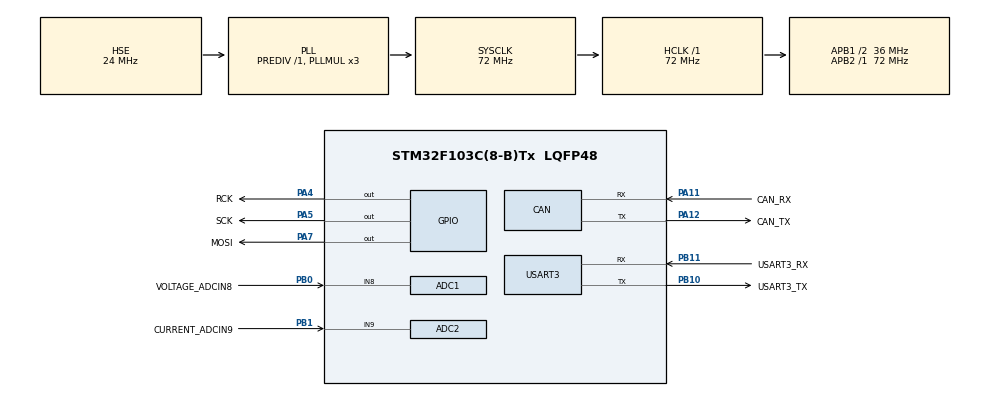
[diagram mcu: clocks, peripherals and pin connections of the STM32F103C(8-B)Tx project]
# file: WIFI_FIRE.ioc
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ADC1.Channel-0\#ChannelRegularConversion=ADC_CHANNEL_8
ADC1.ContinuousConvMode=DISABLE
ADC1.DataAlign=ADC_DATAALIGN_RIGHT
ADC1.DiscontinuousConvMode=DISABLE
ADC1.EnableAnalogWatchDog=false
ADC1.EnableRegularConversion=ENABLE
ADC1.ExternalTrigConv=ADC_SOFTWARE_START
ADC1.InjNumberOfConversion=0
ADC1.NbrOfConversion=1
ADC1.NbrOfConversionFlag=1
ADC1.Rank-0\#ChannelRegularConversion=1
ADC1.SamplingTime-0\#ChannelRegularConversion=ADC_SAMPLETIME_1CYCLE_5
ADC1.ScanConvMode=ADC_SCAN_DISABLE
ADC1.master=1
ADC2.Channel-0\#ChannelRegularConversion=ADC_CHANNEL_9
ADC2.ContinuousConvMode=DISABLE
ADC2.DataAlign=ADC_DATAALIGN_RIGHT
ADC2.DiscontinuousConvMode=DISABLE
ADC2.EnableAnalogWatchDog=false
ADC2.EnableRegularConversion=ENABLE
ADC2.ExternalTrigConv=ADC_SOFTWARE_START
ADC2.InjNumberOfConversion=0
ADC2.NbrOfConversion=1
ADC2.NbrOfConversionFlag=1
ADC2.Rank-0\#ChannelRegularConversion=1
ADC2.SamplingTime-0\#ChannelRegularConversion=ADC_SAMPLETIME_1CYCLE_5
ADC2.ScanConvMode=ADC_SCAN_DISABLE
CAN.CalculateTimeBit=1333
CAN.CalculateTimeQuantum=444.44444444444446
Dma.ADC1.0.Direction=DMA_PERIPH_TO_MEMORY
Dma.ADC1.0.Instance=DMA1_Channel1
Dma.ADC1.0.MemDataAlignment=DMA_MDATAALIGN_WORD
Dma.ADC1.0.MemInc=DMA_MINC_ENABLE
Dma.ADC1.0.Mode=DMA_CIRCULAR
Dma.ADC1.0.PeriphDataAlignment=DMA_PDATAALIGN_WORD
Dma.ADC1.0.PeriphInc=DMA_PINC_DISABLE
Dma.ADC1.0.Priority=DMA_PRIORITY_LOW
Dma.Request0=ADC1
Mcu.Family=STM32F1
Mcu.Name=STM32F103C(8-B)Tx
Mcu.Package=LQFP48
NVIC.DMA1_Channel1_IRQn=true\:0\:0\:false\:false\:true\:false
NVIC.PriorityGroup=NVIC_PRIORITYGROUP_4
NVIC.USART3_IRQn=true\:2\:0\:true\:false\:true\:true
PA11.GPIO_Label=CAN_RX
PA11.Mode=Master
PA11.Signal=CAN_RX
PA12.GPIO_Label=CAN_TX
PA12.Mode=Master
PA12.Signal=CAN_TX
PA13.Mode=Serial_Wire
PA13.Signal=SYS_JTMS-SWDIO
PA14.Mode=Serial_Wire
PA14.Signal=SYS_JTCK-SWCLK
PA4.GPIO_Label=RCK
PA4.GPIO_Speed=GPIO_SPEED_FREQ_MEDIUM
PA4.Signal=GPIO_Output
PA5.GPIO_Label=SCK
PA5.Signal=GPIO_Output
PA7.GPIO_Label=MOSI
PA7.Signal=GPIO_Output
PB0.GPIO_Label=VOLTAGE_ADCIN8
PB0.Signal=ADCx_IN8
PB1.GPIO_Label=CURRENT_ADCIN9
PB1.Signal=ADCx_IN9
PB10.GPIO_Label=USART3_TX
PB10.Mode=Asynchronous
PB10.Signal=USART3_TX
PB11.GPIO_Label=USART3_RX
PB11.Mode=Asynchronous
PB11.Signal=USART3_RX
PD0-OSC_IN.Mode=HSE-External-Clock-Source
PD0-OSC_IN.Signal=RCC_OSC_IN
PD1-OSC_OUT.Mode=HSE-External-Clock-Source
PD1-OSC_OUT.Signal=RCC_OSC_OUT
ProjectManager.HeapSize=0x200
ProjectManager.StackSize=0x400
ProjectManager.TargetToolchain=MDK-ARM V5
RCC.ADCPresc=RCC_ADCPCLK2_DIV6
RCC.AHBFreq_Value=72000000
RCC.APB1CLKDivider=RCC_HCLK_DIV2
RCC.APB1Freq_Value=36000000
RCC.APB1TimFreq_Value=72000000
RCC.APB2Freq_Value=72000000
RCC.APB2TimFreq_Value=72000000
RCC.HCLKFreq_Value=72000000
RCC.HSE_VALUE=24000000
RCC.PLLMUL=RCC_PLL_MUL3
RCC.PLLSourceVirtual=RCC_PLLSOURCE_HSE
RCC.SYSCLKFreq_VALUE=72000000
RCC.SYSCLKSource=RCC_SYSCLKSOURCE_PLLCLK
RCC.USBFreq_Value=72000000
SH.ADCx_IN8.0=ADC1_IN8,IN8
SH.ADCx_IN9.0=ADC1_IN9
SH.ADCx_IN9.1=ADC2_IN9,IN9
USART3.VirtualMode=VM_ASYNC
board=WIFI_FIRE

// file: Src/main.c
/**
  ******************************************************************************
  * File Name          : main.c
  * Description        : Main program body
  ******************************************************************************
  ** This notice applies to any and all portions of this file
  * that are not between comment pairs USER CODE BEGIN and
  * USER CODE END. Other portions of this file, whether
  * inserted by the user or by software development tools
  * are owned by their respective copyright owners.
  *
  * COPYRIGHT(c) 2019 STMicroelectronics
  *
  * Redistribution and use in source and binary forms, with or without modification,
  * are permitted provided that the following conditions are met:
  *   1. Redistributions of source code must retain the above copyright notice,
  *      this list of conditions and the following disclaimer.
  *   2. Redistributions in binary form must reproduce the above copyright notice,
  *      this list of conditions and the following disclaimer in the documentation
  *      and/or other materials provided with the distribution.
  *   3. Neither the name of STMicroelectronics nor the names of its contributors
  *      may be used to endorse or promote products derived from this software
  *      without specific prior written permission.
  *
  * THIS SOFTWARE IS PROVIDED BY THE COPYRIGHT HOLDERS AND CONTRIBUTORS "AS IS"
  * AND ANY EXPRESS OR IMPLIED WARRANTIES, INCLUDING, BUT NOT LIMITED TO, THE
  * IMPLIED WARRANTIES OF MERCHANTABILITY AND FITNESS FOR A PARTICULAR PURPOSE ARE
  * DISCLAIMED. IN NO EVENT SHALL THE COPYRIGHT HOLDER OR CONTRIBUTORS BE LIABLE
  * FOR ANY DIRECT, INDIRECT, INCIDENTAL, SPECIAL, EXEMPLARY, OR CONSEQUENTIAL
  * DAMAGES (INCLUDING, BUT NOT LIMITED TO, PROCUREMENT OF SUBSTITUTE GOODS OR
  * SERVICES; LOSS OF USE, DATA, OR PROFITS; OR BUSINESS INTERRUPTION) HOWEVER
  * CAUSED AND ON ANY THEORY OF LIABILITY, WHETHER IN CONTRACT, STRICT LIABILITY,
  * OR TORT (INCLUDING NEGLIGENCE OR OTHERWISE) ARISING IN ANY WAY OUT OF THE USE
  * OF THIS SOFTWARE, EVEN IF ADVISED OF THE POSSIBILITY OF SUCH DAMAGE.
  *
  ******************************************************************************
  */

#include "main.h"
#include "stm32f1xx_hal.h"
#include "adc.h"
#include "can.h"
#include "dma.h"
#include "usart.h"
#include "gpio.h"

/* USER CODE BEGIN Includes */
#include "config.h"
#include "74hc595.h"
#include "math.h"
#include "rtthread.h"
/* USER CODE END Includes */

/* USER CODE BEGIN PV */
/* Private variables ---------------------------------------------------------*/

#define MAX_CUR 180		//最大电流值
#define MAX_VOL 70		//最大电压值
u8 ERROR_FLG=0;	 		//超最大值报警

u8 Num[8]="        ";			//荧光管显示的字符变量
u8 Init_dis[8]="r  hono";
float CurFlo=0.0;
float CurErr2=0.0;				//电流误差
//float Vol=0.0;
//线程控制块
static struct rt_thread led0_thread;//
static struct rt_thread led1_thread;//
static struct rt_thread CAN_Send_thread;//
ALIGN(RT_ALIGN_SIZE)

//线程堆栈
static rt_uint8_t rt_led0_thread_stack[1024];//???
static rt_uint8_t rt_led1_thread_stack[1024];//???
static rt_uint8_t rt_CAN_Send_thread_stack[1024];//???

//定时器控制块
static struct rt_timer timer1;
static struct rt_timer timer2;

/* USER CODE END PV */

void SystemClock_Config(void);

/* USER CODE BEGIN PFP */
/* Private function prototypes -----------------------------------------------*/

//uint32_t ADC_Value[100];
//uint8_t i;
//uint32_t ad1,ad2;

/* USER CODE END PFP */

/* USER CODE BEGIN 0 */

//重映射串口1到rt_kprintf
//void rt_hw_console_output(const char *str)
//{
//    // /* empty console output */

//    rt_enter_critical();

//    while(*str!='\0')
//    {
//        if(*str=='\n')
//        {
//            USART3->DR = (u8)'\r';
//            while((USART3->SR&0X40)==0);
//        }
//        USART3->DR =*str++;
//        while((USART3->SR&0X40)==0);
//    }

//    rt_exit_critical();
//}

static void timeout1(void* parameter)
{
//rt_kprintf("periodic timer is timeout\n");
	CurErr2=CurFlo;
	printf("periodic timer is timeout\n");
}
u8 Time_flag=0;
static void timeout2(void* parameter)
{
//rt_kprintf("periodic timer is timeout\n");
//	CurErr2=CurFlo;
//	printf("periodic timer is timeout\n");
	Time_flag=1;
}

//?? LED0
static void led0_thread_entry(void* parameter)
{
	int current=0,voltage=0;
	float temp_float=0.0;
	float VolErr=1.4;			    //电压误差补偿
	float CurErr=0.0;
	float CurTmpFlo=0.0;
	float VolFlo=0.0;
	kalman1_state kalman;
	u16 cur_temp[5]={0};
	u16 vol_temp[5]={0};
	u8 cur_length,vol_length;
	u8 count=0;						//采样计数
	kalman1_init(&kalman,0.8,0.8);	//用于电流数据卡尔曼滤波
	Num[four_pos]='a';
    Num[seven_pos]='u';

	/* 初始化定时器 */
    rt_timer_init(&timer1, "timer1", /* 定时器名字是 timer1 */
				  timeout1, /* 超时时回调的处理函数 */
				  RT_NULL, /* 超时函数的入口参数 */
				  10000, /* 定时长度，以OS Tick为单位，即500个OS Tick */
				  RT_TIMER_FLAG_ONE_SHOT); /* 周期性定时器 */

	count=10;
	while(count--)					    //校准程序
	{
		current+=Get_Adc2(ADC_CHANNEL_9);
		rt_thread_delay(20); 			//延时50毫秒
	}
	CurFlo=(current*0.0732)*0.1-190;
	CurErr=CurFlo;
	current=0;
	CurErr = -0.3;
		/* 启动定时器 */
	rt_timer_start(&timer1);
	while(1)
	{

	   voltage+=Get_Adc1(ADC_CHANNEL_8);
	   current+=Get_Adc2(ADC_CHANNEL_9);
	   count++;
	   if(count>9)									//采样10次
	   {
		   count=0;
		   CurTmpFlo=(current*0.0732)*0.1-190-CurErr;			//量程换算
		   if(CurTmpFlo<0.0)
		   {
			   CurTmpFlo=-CurTmpFlo;
		   }
//		   CurFlo=kalman1_filter(&kalman,CurTmpFlo)*1.163-CurErr2; // 钳表61  显示64
//         CurFlo=kalman1_filter(&kalman,CurTmpFlo)*1.0232-CurErr2;
//		   CurFlo=kalman1_filter(&kalman,CurTmpFlo)*1.1085-CurErr2;//根据上次校准值得出

//           CurFlo=kalman1_filter(&kalman,CurTmpFlo)*1.1346-CurErr2;//根据上次校准值得出	1.1346
		   CurFlo=kalman1_filter(&kalman,CurTmpFlo)*1.1246-CurErr2;//根据上次校准值得出	1.1346
		   if(CurFlo<0.0)
		   {
			   CurFlo=-CurFlo;
		   }
		   current=CurFlo;
		   VolFlo=(voltage*80/4095)*0.1+VolErr;
//		   VolFlo=(voltage*77.98/4095)*0.1;
		   if(VolFlo<VolErr+0.1)				//测量电压
		   {
//			   VolFlo=VolFlo-VolErr;
			   VolFlo=(voltage*80/4095)*0.1;
			   if(VolFlo<0) VolFlo=-VolFlo;
		   }
		   voltage=VolFlo;
		   if(current>MAX_CUR || voltage>MAX_VOL)     //设置报警
		   {
			   ERROR_FLG=1;
			   break;
		   }
		   ResolveNumBit(current,cur_temp,&cur_length);	 //取每一位
		   switch(cur_length)
		   {
			   case 0x01:
				   current=CurFlo*100;
			       ResolveNumBit(current,cur_temp,&cur_length);	 //取每一位
				   Num[one_pos]=cur_temp[2]+'.';
				   Num[two_pos]=cur_temp[1];
				   Num[three_pos]=cur_temp[0];
				   break;
			   case 0x02:
				   current=CurFlo*10;
			       ResolveNumBit(current,cur_temp,&cur_length);	 //取每一位
				   Num[one_pos]=cur_temp[2];
				   Num[two_pos]=cur_temp[1]+'.';
				   Num[three_pos]=cur_temp[0];
				   break;
			   case 0x03:
				   Num[one_pos]=cur_temp[2];
				   Num[two_pos]=cur_temp[1];
				   Num[three_pos]=cur_temp[0];
				   break;
			   default:
				   Num[one_pos]='-';
				   Num[two_pos]='-';
				   Num[three_pos]='-';
				   break;
		   }
		   cur_temp[2]=0;
		   cur_temp[1]=0;
		   cur_temp[0]=0;
		   ResolveNumBit(voltage,vol_temp,&vol_length);	//取每一位
		   switch(vol_length)
		   {
			   case 1:
				   voltage=VolFlo*100;
			       ResolveNumBit(voltage,vol_temp,&vol_length);	//取每一位
				   Num[five_pos]=vol_temp[2]+'.';
			       Num[six_pos]=vol_temp[1];
			       Num[seven_pos]=vol_temp[0];
				   break;
			   case 2:
				   voltage=VolFlo*10;
			       ResolveNumBit(voltage,vol_temp,&vol_length);	//取每一位
				   Num[five_pos]=vol_temp[2];
			       Num[six_pos]=vol_temp[1]+'.';
			       Num[seven_pos]=vol_temp[0];
				   break;
			   default:
				   Num[five_pos]='-';
				   Num[six_pos]='-';
				   Num[seven_pos]='u';
				   break;
		   }
		   vol_temp[2]=0;
		   vol_temp[1]=0;
		   printf("cur:\t %.3f \t A \t vol: %.3f V  Err: %.3f\r\n",CurFlo,VolFlo,CurErr);
		   current=0;		//采样清零
		   voltage=0;
	   }
	   rt_thread_delay(25); //延时50毫秒
	}
}

//线程 LED1
static void led1_thread_entry(void* parameter)
{
	Init_dis[six_pos]=1+'.';
	Init_dis[seven_pos]=0;
	/* 初始化定时器 */
    rt_timer_init(&timer2, "timer2", /* 定时器名字是 timer2 */
				  timeout2, /* 超时时回调的处理函数 */
				  RT_NULL, /* 超时函数的入口参数 */
				  10000, /* 定时长度，以OS Tick为单位，即500个OS Tick */
				  RT_TIMER_FLAG_ONE_SHOT); /* 周期性定时器 */

	rt_timer_start(&timer2);
//	rt_thread_delay(RT_TICK_PER_SECOND/2); //??
	while(1)
	{
		if(Time_flag==1)    //定时时间到
		{
			DispNum(Num);	//数码管显示
		}
		else				//开机显示
		{
			DispNum(Init_dis);
		}
//		rt_thread_delay(1); //??
	}
}

static void CAN_Send_thread_entry(void* parameter)
{

//	rt_thread_delay(RT_TICK_PER_SECOND/2); //??
	u8 num[8]={0,1,2,3,4,5,6,7};
	u8 res=0;
	u8 recive_buff[8]={0};
	while(1)
	{
		res=CAN1_Receive_Msg(recive_buff);
		if(res)
		{
			printf("the length is:%d\r\n",res);
//			for(i=0;i<8;i++)
//			{
//				printf("recive_buff[i]:%d\r\n",recive_buff[i]);
//			}

		}
		SendData();
//		CAN1_Send_Msg(num,8);
		rt_thread_delay(500); //??
	}
}

/* USER CODE END 0 */

int main(void)
{

  /* USER CODE BEGIN 1 */
//  u16 counter=0;
//  u16 tmp;
//  u8 i=0;
  /* USER CODE END 1 */

  /* MCU Configuration----------------------------------------------------------*/

  /* Reset of all peripherals, Initializes the Flash interface and the Systick. */
  HAL_Init();

  /* Configure the system clock */
  SystemClock_Config();

  /* Initialize all configured peripherals */
  MX_GPIO_Init();
//  MX_DMA_Init();
  MX_CAN_Init();
  MX_USART3_UART_Init();
  MX_ADC1_Init();
  MX_ADC2_Init();

  /* USER CODE BEGIN 2 */
  HC595Init();			//初始化74HC595
//  HAL_ADC_Start_DMA(&hadc1, (uint32_t*)&ADC_Value, 100);

	// ??????
	rt_thread_init(&led0_thread,     //线程控制块
	"led0",                          //线程名字 在 shell 命令行可以看到
	led0_thread_entry,               //线程入口函数
	RT_NULL,                         //线程入口函数参数
	&rt_led0_thread_stack[0],        //线程起始地址
	sizeof(rt_led0_thread_stack),    //线程栈大小
	3, 								 //线程优先级
	20); 							 //线程时间片
	rt_thread_startup(&led0_thread); //启动线程 led0_thread,开启调度

	rt_thread_init(&led1_thread, 	 //线程控制块
	"led1", 						 //线程名字 在 shell 命令行可以看到
	led1_thread_entry, 				 //线程入口函数
	RT_NULL,                         //线程入口函数参数
	&rt_led1_thread_stack[0],        //线程起始地址
	sizeof(rt_led1_thread_stack),    //线程栈大小
	5, 								 //线程优先级
	20);
	rt_thread_startup(&led1_thread); //启动线程 led1_thread,开启调度

	rt_thread_init(&CAN_Send_thread, //线程控制块
	"CAN_Send", 					 //线程名字 在 shell 命令行可以看到
	CAN_Send_thread_entry, 			 //线程入口函数
	RT_NULL,                         //线程入口函数参数
	&rt_CAN_Send_thread_stack[0],    //线程起始地址
	sizeof(rt_CAN_Send_thread_stack),//线程栈大小
	4, 								 //线程优先级
	20);
	rt_thread_startup(&CAN_Send_thread); //启动线程 led1_thread,开启调度

	rt_system_timer_init();
	rt_system_timer_thread_init();
	//创建一个静态定时器

	printf("Init Ok\r\n");
  /* USER CODE END 2 */

  /* Infinite loop */
  /* USER CODE BEGIN WHILE */
//  while (1)
//  {
  /* USER CODE END WHILE */

  /* USER CODE BEGIN 3 */

//  }
  /* USER CODE END 3 */

}

/** System Clock Configuration
*/
void SystemClock_Config(void)
{

  RCC_OscInitTypeDef RCC_OscInitStruct;
  RCC_ClkInitTypeDef RCC_ClkInitStruct;
  RCC_PeriphCLKInitTypeDef PeriphClkInit;

    /**Initializes the CPU, AHB and APB busses clocks
    */
  RCC_OscInitStruct.OscillatorType = RCC_OSCILLATORTYPE_HSE;
  RCC_OscInitStruct.HSEState = RCC_HSE_BYPASS;
  RCC_OscInitStruct.HSEPredivValue = RCC_HSE_PREDIV_DIV1;
  RCC_OscInitStruct.HSIState = RCC_HSI_ON;
  RCC_OscInitStruct.PLL.PLLState = RCC_PLL_ON;
  RCC_OscInitStruct.PLL.PLLSource = RCC_PLLSOURCE_HSE;
  RCC_OscInitStruct.PLL.PLLMUL = RCC_PLL_MUL3;
  if (HAL_RCC_OscConfig(&RCC_OscInitStruct) != HAL_OK)
  {
    _Error_Handler(__FILE__, __LINE__);
  }

    /**Initializes the CPU, AHB and APB busses clocks
    */
  RCC_ClkInitStruct.ClockType = RCC_CLOCKTYPE_HCLK|RCC_CLOCKTYPE_SYSCLK
                              |RCC_CLOCKTYPE_PCLK1|RCC_CLOCKTYPE_PCLK2;
  RCC_ClkInitStruct.SYSCLKSource = RCC_SYSCLKSOURCE_PLLCLK;
  RCC_ClkInitStruct.AHBCLKDivider = RCC_SYSCLK_DIV1;
  RCC_ClkInitStruct.APB1CLKDivider = RCC_HCLK_DIV2;
  RCC_ClkInitStruct.APB2CLKDivider = RCC_HCLK_DIV1;

  if (HAL_RCC_ClockConfig(&RCC_ClkInitStruct, FLASH_LATENCY_2) != HAL_OK)
  {
    _Error_Handler(__FILE__, __LINE__);
  }

  PeriphClkInit.PeriphClockSelection = RCC_PERIPHCLK_ADC;
  PeriphClkInit.AdcClockSelection = RCC_ADCPCLK2_DIV6;
  if (HAL_RCCEx_PeriphCLKConfig(&PeriphClkInit) != HAL_OK)
  {
    _Error_Handler(__FILE__, __LINE__);
  }

    /**Configure the Systick interrupt time
    */
  HAL_SYSTICK_Config(HAL_RCC_GetHCLKFreq()/1000);

    /**Configure the Systick
    */
  HAL_SYSTICK_CLKSourceConfig(SYSTICK_CLKSOURCE_HCLK);

  /* SysTick_IRQn interrupt configuration */
  HAL_NVIC_SetPriority(SysTick_IRQn, 0, 0);
}

void _Error_Handler(char * file, int line)
{
  while(1)
  {
  }
}

/************************ (C) COPYRIGHT STMicroelectronics *****END OF FILE****/
